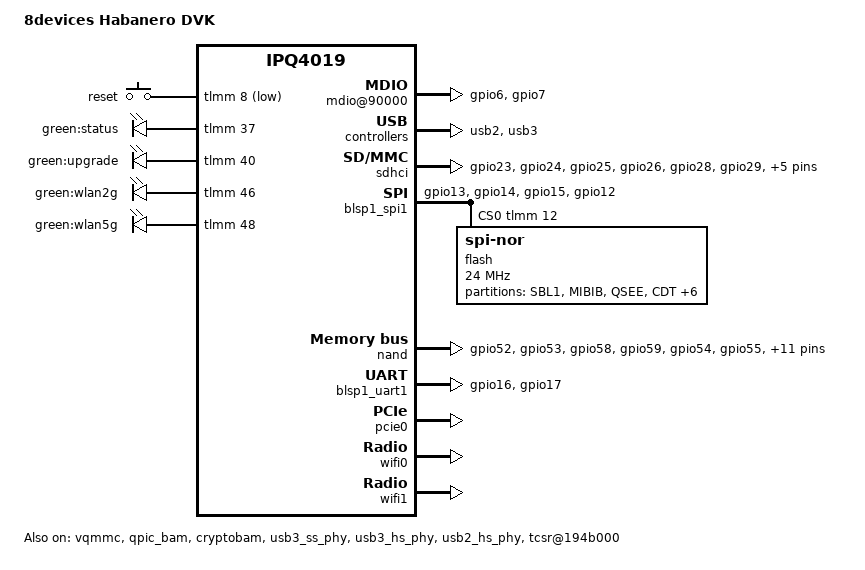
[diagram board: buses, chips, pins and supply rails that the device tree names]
// SPDX-License-Identifier: GPL-2.0-or-later OR MIT
/* Copyright (c) 2019, Robert Marko <robimarko@gmail.com> */

#include "qcom-ipq4019.dtsi"
#include <dt-bindings/gpio/gpio.h>
#include <dt-bindings/input/input.h>
#include <dt-bindings/soc/qcom,tcsr.h>

/ {
	model = "8devices Habanero DVK";
	compatible = "8dev,habanero-dvk";

	aliases {
		led-boot = &led_status;
		led-failsafe = &led_status;
		led-running = &led_status;
		led-upgrade = &led_upgrade;
	};

	soc {
		rng@22000 {
			status = "okay";
		};

		mdio@90000 {
			status = "okay";

			pinctrl-0 = <&mdio_pins>;
			pinctrl-names = "default";
		};

		ess-psgmii@98000 {
			status = "okay";
		};

		counter@4a1000 {
			compatible = "qcom,qca-gcnt";
			reg = <0x4a1000 0x4>;
		};

		tcsr@1949000 {
			compatible = "qcom,tcsr";
			reg = <0x1949000 0x100>;
			qcom,wifi_glb_cfg = <TCSR_WIFI_GLB_CFG>;
		};

		tcsr@194b000 {
			status = "okay";

			compatible = "qcom,tcsr";
			reg = <0x194b000 0x100>;
			qcom,usb-hsphy-mode-select = <TCSR_USB_HSPHY_HOST_MODE>;
		};

		ess_tcsr@1953000 {
			compatible = "qcom,tcsr";
			reg = <0x1953000 0x1000>;
			qcom,ess-interface-select = <TCSR_ESS_PSGMII>;
		};

		tcsr@1957000 {
			compatible = "qcom,tcsr";
			reg = <0x1957000 0x100>;
			qcom,wifi_noc_memtype_m0_m2 = <TCSR_WIFI_NOC_MEMTYPE_M0_M2>;
		};

		usb2: usb2@60f8800 {
			status = "okay";
		};

		usb3: usb3@8af8800 {
			status = "okay";
		};

		crypto@8e3a000 {
			status = "okay";
		};

		watchdog@b017000 {
			status = "okay";
		};

		ess-switch@c000000 {
			status = "okay";
		};

		edma@c080000 {
			status = "okay";
		};
	};

	keys {
		compatible = "gpio-keys";

		reset {
			label = "reset";
			gpios = <&tlmm 8 GPIO_ACTIVE_LOW>;
			linux,code = <KEY_RESTART>;
		};
	};

	leds {
		compatible = "gpio-leds";

		led_status: status {
			label = "green:status";
			gpios = <&tlmm 37 GPIO_ACTIVE_HIGH>;
			panic-indicator;
		};

		led_upgrade: upgrade {
			label = "green:upgrade";
			gpios = <&tlmm 40 GPIO_ACTIVE_HIGH>;
		};

		wlan2g {
			label = "green:wlan2g";
			gpios = <&tlmm 46 GPIO_ACTIVE_HIGH>;
			linux,default-trigger = "phy0tpt";
		};

		wlan5g {
			label = "green:wlan5g";
			gpios = <&tlmm 48 GPIO_ACTIVE_HIGH>;
			linux,default-trigger = "phy1tpt";
		};
	};
};

&vqmmc {
	status = "okay";
};

&sdhci {
	status = "okay";

	pinctrl-0 = <&sd_pins>;
	pinctrl-names = "default";
	cd-gpios = <&tlmm 22 GPIO_ACTIVE_LOW>;
	vqmmc-supply = <&vqmmc>;
};

&qpic_bam {
	status = "okay";
};

&tlmm {
	mdio_pins: mdio_pinmux {
		mux_1 {
			pins = "gpio6";
			function = "mdio";
			bias-pull-up;
		};

		mux_2 {
			pins = "gpio7";
			function = "mdc";
			bias-pull-up;
		};
	};

	serial_pins: serial_pinmux {
		mux {
			pins = "gpio16", "gpio17";
			function = "blsp_uart0";
			bias-disable;
		};
	};

	spi_0_pins: spi_0_pinmux {
		pinmux {
			function = "blsp_spi0";
			pins = "gpio13", "gpio14", "gpio15";
			drive-strength = <12>;
			bias-disable;
		};

		pinmux_cs {
			function = "gpio";
			pins = "gpio12";
			drive-strength = <2>;
			bias-disable;
			output-high;
		};
	};

	nand_pins: nand_pins {
		pullups {
			pins =  "gpio52", "gpio53", "gpio58", "gpio59";
			function = "qpic";
			bias-pull-up;
		};

		pulldowns {
			pins = "gpio54", "gpio55", "gpio56", "gpio57",
				"gpio60", "gpio62", "gpio63", "gpio64",
				"gpio65", "gpio66", "gpio67", "gpio68",
				"gpio69";
			function = "qpic";
			bias-pull-down;
		};
	};

	sd_pins: sd_pins {
		pinmux {
			function = "sdio";
			pins = "gpio23", "gpio24", "gpio25", "gpio26",
				"gpio28", "gpio29", "gpio30", "gpio31";
			drive-strength = <10>;
		};

		pinmux_sd_clk {
			function = "sdio";
			pins = "gpio27";
			drive-strength = <16>;
		};

		pinmux_sd7 {
			function = "sdio";
			pins = "gpio32";
			drive-strength = <10>;
			bias-disable;
		};
	};
};

&blsp_dma {
	status = "okay";
};

&blsp1_spi1 {
	status = "okay";

	pinctrl-0 = <&spi_0_pins>;
	pinctrl-names = "default";
	cs-gpios = <&tlmm 12 GPIO_ACTIVE_HIGH>;

	flash@0 {
		compatible = "jedec,spi-nor";
		spi-max-frequency = <24000000>;
		reg = <0>;

		partitions {
			compatible = "fixed-partitions";
			#address-cells = <1>;
			#size-cells = <1>;

			partition@0 {
				label = "SBL1";
				reg = <0x00000000 0x00040000>;
				read-only;
			};
			partition@40000 {
				label = "MIBIB";
				reg = <0x00040000 0x00020000>;
				read-only;
			};
			partition@60000 {
				label = "QSEE";
				reg = <0x00060000 0x00060000>;
				read-only;
			};
			partition@c0000 {
				label = "CDT";
				reg = <0x000c0000 0x00010000>;
				read-only;
			};
			partition@d0000 {
				label = "DDRPARAMS";
				reg = <0x000d0000 0x00010000>;
				read-only;
			};
			partition@e0000 {
				label = "APPSBLENV"; /* uboot env */
				reg = <0x000e0000 0x00010000>;
				read-only;
			};
			partition@f0000 {
				label = "APPSBL"; /* uboot */
				reg = <0x000f0000 0x00080000>;
				read-only;
			};
			partition@170000 {
				label = "ART";
				reg = <0x00170000 0x00010000>;
				read-only;
				compatible = "nvmem-cells";
				#address-cells = <1>;
				#size-cells = <1>;

				precal_art_1000: precal@1000 {
					reg = <0x1000 0x2f20>;
				};

				precal_art_5000: precal@5000 {
					reg = <0x5000 0x2f20>;
				};
			};
			partition@180000 {
				label = "cfg";
				reg = <0x00180000 0x00040000>;
			};
			partition@1c0000 {
				label = "firmware";
				compatible = "denx,fit";
				reg = <0x001c0000 0x01e40000>;
			};
		};
	};
};

/* Some DVK boards ship without NAND */
&nand {
	status = "okay";

	pinctrl-0 = <&nand_pins>;
	pinctrl-names = "default";
};

&blsp1_uart1 {
	status = "okay";

	pinctrl-0 = <&serial_pins>;
	pinctrl-names = "default";
};

&cryptobam {
	status = "okay";
};

&pcie0 {
	status = "okay";

	perst-gpio = <&tlmm 38 GPIO_ACTIVE_LOW>;
	wake-gpio = <&tlmm 50 GPIO_ACTIVE_LOW>;

	/* Free slot for use */
	bridge@0,0 {
		reg = <0x00000000 0 0 0 0>;
		#address-cells = <3>;
		#size-cells = <2>;
		ranges;
	};
};

&wifi0 {
	status = "okay";
	nvmem-cell-names = "pre-calibration";
	nvmem-cells = <&precal_art_1000>;
	qcom,ath10k-calibration-variant = "8devices-Habanero";
};

&wifi1 {
	status = "okay";
	nvmem-cell-names = "pre-calibration";
	nvmem-cells = <&precal_art_5000>;
	qcom,ath10k-calibration-variant = "8devices-Habanero";
};

&usb3_ss_phy {
	status = "okay";
};

&usb3_hs_phy {
	status = "okay";
};

&usb2_hs_phy {
	status = "okay";
};
